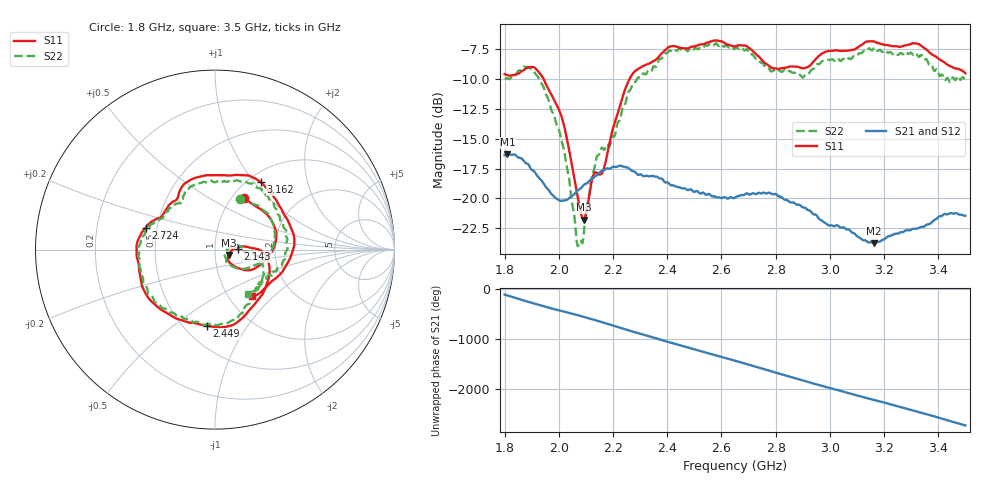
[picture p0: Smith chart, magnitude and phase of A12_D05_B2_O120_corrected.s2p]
! Created with skrf 1.9.0 (http://scikit-rf.org).
# Hz S RI R 50.0
!freq ReS11 ImS11 ReS21 ImS21 ReS12 ImS12 ReS22 ImS22
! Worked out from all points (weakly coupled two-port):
!   1601 points, 1.8 GHz to 3.5 GHz, reference 50 ohm
!   highest |S21| = -16.30 dB at 1.811 GHz (marker M1); lowest = -23.7 dB at 3.162 GHz (marker M2)
!   lowest |S11| = -21.8 dB at 2.092 GHz (marker M3), VSWR 1.18, Z = 58.1 - j3.45 ohm
!   |S11| at or under -10 dB: 1.944 GHz to 2.261 GHz (317 MHz wide, 15.1 % of centre)
!   |S22| runs from -24.0 to -7.0 dB; largest |S21 - S12| = 0.0028
!   S11 on the Smith chart (normalised r, x): 1.8 GHz: 1.13, +0.74; 2.143 GHz: 1.29, +0.01; 2.449 GHz: 0.64, -0.67; 2.724 GHz: 0.43, +0.13; 3.162 GHz: 1.14, +1.08; 3.5 GHz: 1.28, -0.75
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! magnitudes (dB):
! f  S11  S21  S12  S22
! 1.8 GHz  -9.6  -16.4  -16.4  -10.0
! 1.811 GHz  -9.7  -16.3  -16.3  -9.9
! 1.881 GHz  -9.1  -17.1  -17.1  -9.0
! 1.941 GHz  -9.9  -18.6  -18.7  -10.5
! 2.014 GHz  -13.4  -20.2  -20.2  -15.5
! 2.067 GHz  -19.5  -19.4  -19.4  -23.7
! 2.084 GHz  -21.4  -19.1  -19.0  -23.7
! 2.092 GHz  -21.8  -18.9  -18.9  -22.9
! 2.125 GHz  -18.2  -18.3  -18.3  -17.9
! 2.143 GHz  -17.9  -18.0  -18.0  -16.4
! 2.166 GHz  -17.5  -17.7  -17.6  -15.9
! 2.262 GHz  -9.9  -17.5  -17.6  -10.9
! 2.367 GHz  -8.2  -18.3  -18.2  -8.5
! 2.449 GHz  -7.4  -19.1  -19.1  -7.5
! 2.65 GHz  -7.3  -19.9  -19.9  -7.5
! 2.724 GHz  -7.8  -19.6  -19.6  -8.3
! 2.793 GHz  -9.1  -19.6  -19.6  -9.3
! 2.934 GHz  -8.7  -21.2  -21.2  -9.2
! 3.162 GHz  -6.8  -23.7  -23.7  -7.4
! 3.217 GHz  -7.2  -23.2  -23.1  -7.8
! 3.325 GHz  -7.1  -22.5  -22.5  -8.1
! 3.5 GHz  -9.5  -21.5  -21.4  -10.3
